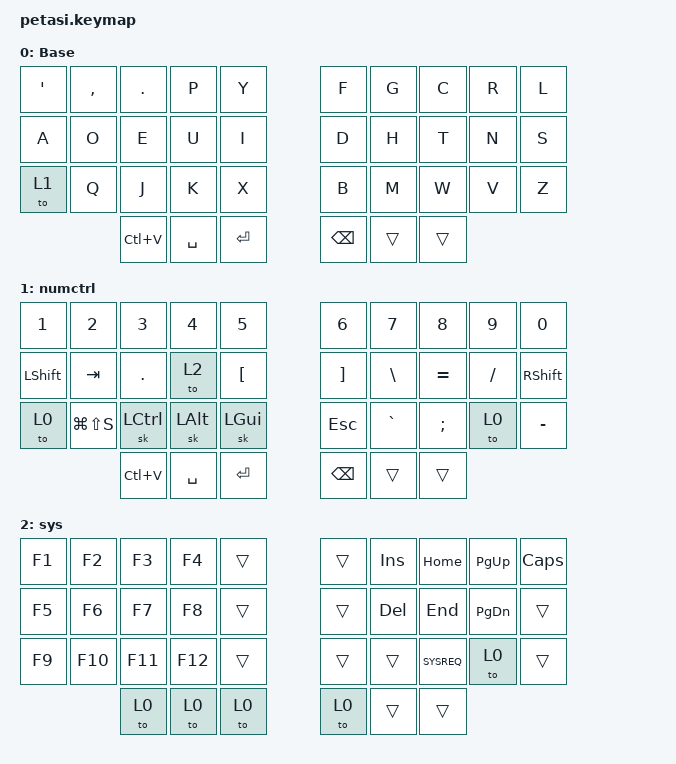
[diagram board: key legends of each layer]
#include <behaviors.dtsi>
#include <dt-bindings/zmk/keys.h>

/ {
    keymap {
        compatible = "zmk,keymap";

        Base {
            bindings = <
  &kp SINGLE_QUOTE  &kp COMMA  &kp PERIOD  &kp P      &kp Y        &kp F          &kp G   &kp C   &kp R  &kp L
  &kp A             &kp O      &kp E       &kp U      &kp I        &kp D          &kp H   &kp T   &kp N  &kp S
  &to 1             &kp Q      &kp J       &kp K      &kp X        &kp B          &kp M   &kp W   &kp V  &kp Z
                               &kp LC(V)   &kp SPACE  &kp ENTER    &kp BACKSPACE  &trans  &trans
            >;
        };

        numctrl {
            bindings = <
  &kp N1     &kp N2         &kp N3     &kp N4        &kp N5          &kp N6         &kp N7     &kp N8     &kp N9    &kp N0
  &kp LSHFT  &kp TAB        &kp DOT    &to 2         &kp LBKT        &kp RBKT       &kp BSLH   &kp EQUAL  &kp FSLH  &kp RSHFT
  &to 0      &kp LG(LS(S))  &sk LCTRL  &sk LEFT_ALT  &sk LEFT_GUI    &kp ESC        &kp GRAVE  &kp SEMI   &to 0     &kp MINUS
                            &kp LC(V)  &kp SPACE     &kp ENTER       &kp BACKSPACE  &trans     &trans
            >;
        };

        sys {
            bindings = <
  &kp F1  &kp F2   &kp F3   &kp F4   &trans    &trans  &kp INSERT  &kp HOME    &kp PG_UP      &kp CAPS
  &kp F5  &kp F6   &kp F7   &kp F8   &trans    &trans  &kp DELETE  &kp END     &kp PAGE_DOWN  &trans
  &kp F9  &kp F10  &kp F11  &kp F12  &trans    &trans  &trans      &kp SYSREQ  &to 0          &trans
                   &to 0    &to 0    &to 0     &to 0   &trans      &trans
            >;
        };
    };
};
